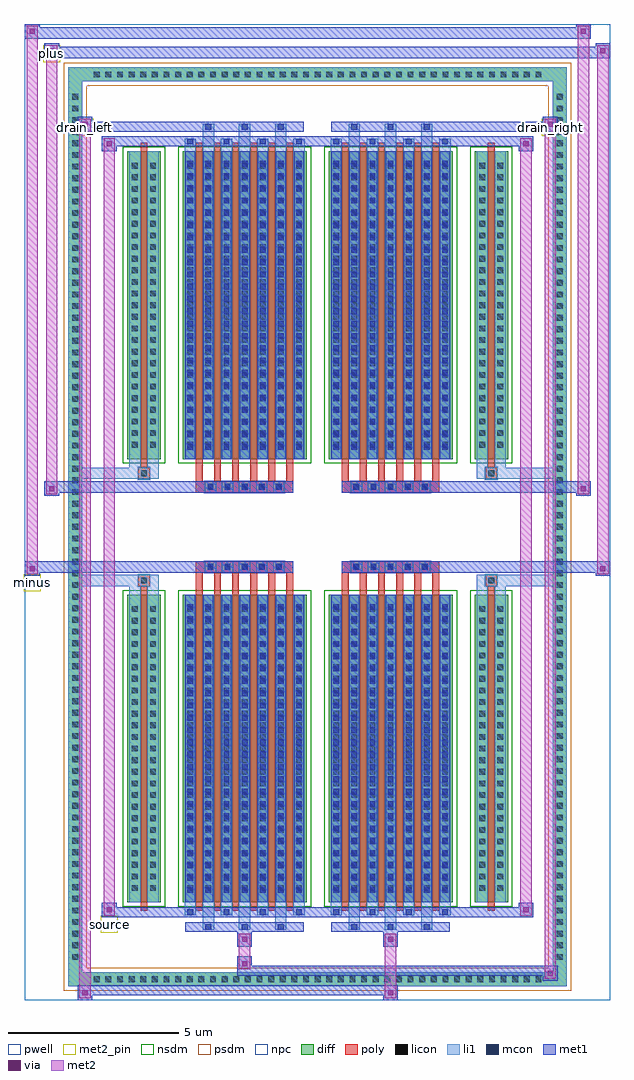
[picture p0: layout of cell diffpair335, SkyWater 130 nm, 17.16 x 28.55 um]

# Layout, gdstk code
import gdstk
lib = gdstk.Library(unit=1e-6, precision=5e-09)
def R(c, l, rs):  # rectangles x0, y0, x1, y1
    for r in rs: c.add(gdstk.rectangle(r[:2], r[2:], *l))
def A(c, l, x, y, w, h, nx, ny, dx, dy):  # array of equal rectangles
    R(c, l, [(x+i*dx, y+j*dy, x+i*dx+w, y+j*dy+h) for i in range(nx) for j in range(ny)])
def P(c, l, *ps):  # polygons
    for p in ps: c.add(gdstk.Polygon(p, *l))
pwell = (64, 44)
diff = (65, 20)
poly = (66, 20)
licon = (66, 44)
li1 = (67, 20)
mcon = (67, 44)
met1 = (68, 20)
via = (68, 44)
met2_pin = (69, 16)
met2 = (69, 20)
nsdm = (93, 44)
psdm = (94, 20)
npc = (95, 20)

diffpair335 = lib.new_cell('diffpair335')
R(diffpair335, pwell, [(-8.56,-13.84,8.56,14.71), (-5.88,-12.03,-0.01,-0.805), (0.01,-12.03,5.88,-0.805), (-5.88,0.805,-0.01,12.03), (0.01,0.805,5.88,12.03)])
A(diffpair335, diff, -6.665, -13.44, 0.41, 0.41, 39, 2, 0.34, 26.47)
A(diffpair335, diff, -7.29, -12.785, 0.41, 0.41, 1, 75, 0, 0.34)
A(diffpair335, diff, 6.88, -12.785, 0.41, 0.41, 1, 75, 0, 0.34)
R(diffpair335, diff, [(-6.665,-13.44,6.665,-13.03), (-7.29,-12.785,-6.88,12.785), (6.88,-12.785,7.29,12.785), (-5.57,-10.985,-4.59,-1.985), (-3.95,-10.985,-0.32,-1.985), (0.32,-10.985,3.95,-1.985), (4.59,-10.985,5.57,-1.985), (-5.57,1.985,-4.59,10.985), (-3.95,1.985,-0.32,10.985), (0.32,1.985,3.95,10.985), (4.59,1.985,5.57,10.985), (-6.665,13.03,6.665,13.44)])
P(diffpair335, diff, [(7.29,13.44),(-7.29,13.44),(-7.29,-13.03),(-6.88,-13.03),(-6.88,13.03),(6.88,13.03),(6.88,-13.03),(-6.88,-13.03),(-7.29,-13.03),(-7.29,-13.44),(7.29,-13.44)])
A(diffpair335, poly, -3.56, -11.235, 0.2, 9.5, 6, 2, 0.53, 12.97)
A(diffpair335, poly, 0.71, -11.235, 0.2, 9.5, 6, 2, 0.53, 12.97)
A(diffpair335, poly, -3.56, -1.735, 0.2, 0.4, 6, 2, 0.53, 3.07)
A(diffpair335, poly, 0.71, -1.735, 0.2, 0.4, 6, 2, 0.53, 3.07)
A(diffpair335, poly, -3.3, -1.335, 0.33, 0.33, 5, 2, 0.5, 2.34)
A(diffpair335, poly, 0.97, -1.335, 0.33, 0.33, 5, 2, 0.5, 2.34)
R(diffpair335, poly, [(-5.18,-11.235,-4.98,-1.735), (4.98,-11.235,5.18,-1.735), (-5.245,-1.735,-4.915,-1.405), (-5.245,-1.735,-4.915,-1.405), (4.915,-1.735,5.245,-1.405), (4.915,-1.735,5.245,-1.405), (-3.56,-1.335,-0.71,-1.005), (0.71,-1.335,3.56,-1.005), (-3.56,1.005,-0.71,1.335), (0.71,1.005,3.56,1.335), (-5.245,1.405,-4.915,1.735), (-5.245,1.405,-4.915,1.735), (4.915,1.405,5.245,1.735), (4.915,1.405,5.245,1.735), (-5.18,1.735,-4.98,11.235), (4.98,1.735,5.18,11.235)])
A(diffpair335, licon, -6.545, -13.32, 0.17, 0.17, 39, 2, 0.34, 26.47)
A(diffpair335, licon, -7.17, -12.665, 0.17, 0.17, 1, 75, 0, 0.34)
A(diffpair335, licon, 7, -12.665, 0.17, 0.17, 1, 75, 0, 0.34)
A(diffpair335, licon, -5.43, -10.65, 0.17, 0.17, 1, 25, 0, 0.34)
A(diffpair335, licon, -4.9, -10.65, 0.17, 0.17, 1, 25, 0, 0.34)
A(diffpair335, licon, -3.81, -10.65, 0.17, 0.17, 7, 25, 0.53, 0.34)
A(diffpair335, licon, 0.46, -10.65, 0.17, 0.17, 7, 25, 0.53, 0.34)
A(diffpair335, licon, 4.73, -10.65, 0.17, 0.17, 1, 25, 0, 0.34)
A(diffpair335, licon, 5.26, -10.65, 0.17, 0.17, 1, 25, 0, 0.34)
A(diffpair335, licon, -3.22, -1.255, 0.17, 0.17, 5, 2, 0.5, 2.34)
A(diffpair335, licon, 1.05, -1.255, 0.17, 0.17, 5, 2, 0.5, 2.34)
A(diffpair335, licon, -5.43, 2.32, 0.17, 0.17, 1, 25, 0, 0.34)
A(diffpair335, licon, -4.9, 2.32, 0.17, 0.17, 1, 25, 0, 0.34)
A(diffpair335, licon, -3.81, 2.32, 0.17, 0.17, 7, 25, 0.53, 0.34)
A(diffpair335, licon, 0.46, 2.32, 0.17, 0.17, 7, 25, 0.53, 0.34)
A(diffpair335, licon, 4.73, 2.32, 0.17, 0.17, 1, 25, 0, 0.34)
A(diffpair335, licon, 5.26, 2.32, 0.17, 0.17, 1, 25, 0, 0.34)
R(diffpair335, licon, [(-5.165,-1.655,-4.995,-1.485), (4.995,-1.655,5.165,-1.485), (-5.165,1.485,-4.995,1.655), (4.995,1.485,5.165,1.655)])
A(diffpair335, li1, -6.625, -13.4, 0.33, 0.33, 39, 2, 0.34, 26.47)
A(diffpair335, li1, -7.25, -12.745, 0.33, 0.33, 1, 75, 0, 0.34)
A(diffpair335, li1, 6.92, -12.745, 0.33, 0.33, 1, 75, 0, 0.34)
A(diffpair335, li1, -3.36, -11.79, 0.33, 0.805, 3, 2, 1.06, 22.775)
A(diffpair335, li1, -3.28, -11.79, 0.17, 0.17, 3, 2, 1.06, 23.41)
A(diffpair335, li1, 0.91, -11.79, 0.33, 0.805, 3, 2, 1.06, 22.775)
A(diffpair335, li1, 0.99, -11.79, 0.17, 0.17, 3, 2, 1.06, 23.41)
A(diffpair335, li1, -3.89, -11.36, 0.33, 0.375, 4, 2, 1.06, 22.345)
A(diffpair335, li1, -3.81, -11.36, 0.17, 0.17, 4, 2, 1.06, 22.55)
A(diffpair335, li1, 0.38, -11.36, 0.33, 0.375, 4, 2, 1.06, 22.345)
A(diffpair335, li1, 0.46, -11.36, 0.17, 0.17, 4, 2, 1.06, 22.55)
A(diffpair335, li1, -3.89, -10.985, 0.33, 9, 7, 2, 0.53, 12.97)
A(diffpair335, li1, 0.38, -10.985, 0.33, 9, 7, 2, 0.53, 12.97)
A(diffpair335, li1, -5.51, -10.73, 0.33, 0.33, 1, 25, 0, 0.34)
A(diffpair335, li1, -4.98, -10.73, 0.33, 0.33, 1, 25, 0, 0.34)
A(diffpair335, li1, -3.89, -10.73, 0.33, 0.33, 7, 25, 0.53, 0.34)
A(diffpair335, li1, 0.38, -10.73, 0.33, 0.33, 7, 25, 0.53, 0.34)
A(diffpair335, li1, 4.65, -10.73, 0.33, 0.33, 1, 25, 0, 0.34)
A(diffpair335, li1, 5.18, -10.73, 0.33, 0.33, 1, 25, 0, 0.34)
A(diffpair335, li1, -3.81, -10.71, 0.17, 0.17, 7, 24, 0.53, 0.36)
A(diffpair335, li1, -3.81, -10.71, 0.17, 8.45, 7, 2, 0.53, 12.97)
A(diffpair335, li1, 0.46, -10.71, 0.17, 0.17, 7, 24, 0.53, 0.36)
A(diffpair335, li1, 0.46, -10.71, 0.17, 8.45, 7, 2, 0.53, 12.97)
A(diffpair335, li1, -3.3, -1.335, 0.33, 0.33, 5, 2, 0.5, 2.34)
A(diffpair335, li1, 0.97, -1.335, 0.33, 0.33, 5, 2, 0.5, 2.34)
A(diffpair335, li1, -5.51, 2.24, 0.33, 0.33, 1, 25, 0, 0.34)
A(diffpair335, li1, -4.98, 2.24, 0.33, 0.33, 1, 25, 0, 0.34)
A(diffpair335, li1, -3.89, 2.24, 0.33, 0.33, 7, 25, 0.53, 0.34)
A(diffpair335, li1, 0.38, 2.24, 0.33, 0.33, 7, 25, 0.53, 0.34)
A(diffpair335, li1, 4.65, 2.24, 0.33, 0.33, 1, 25, 0, 0.34)
A(diffpair335, li1, 5.18, 2.24, 0.33, 0.33, 1, 25, 0, 0.34)
A(diffpair335, li1, -3.81, 2.26, 0.17, 0.17, 7, 24, 0.53, 0.36)
A(diffpair335, li1, 0.46, 2.26, 0.17, 0.17, 7, 24, 0.53, 0.36)
R(diffpair335, li1, [(-7.29,-13.44,-6.88,-13.03), (-7.29,-13.44,-6.88,-13.03), (-6.88,-13.44,6.88,-13.03), (6.88,-13.44,7.29,-13.03), (6.88,-13.44,7.29,-13.03), (-7.29,-13.03,-6.88,13.03), (6.88,-13.03,7.29,13.03), (-5.51,-10.985,-5.18,-1.985), (-4.98,-10.985,-4.65,-1.985), (4.65,-10.985,4.98,-1.985), (5.18,-10.985,5.51,-1.985), (-5.51,-1.985,-5.18,-1.405), (-4.98,-1.985,-4.65,-1.405), (4.65,-1.985,4.98,-1.405), (5.18,-1.985,5.51,-1.405), (-7.29,-1.735,-5.245,-1.405), (-5.51,-1.735,-5.245,-1.405), (-5.245,-1.735,-4.915,-1.405), (-4.915,-1.735,-4.65,-1.405), (4.65,-1.735,4.915,-1.405), (4.915,-1.735,5.245,-1.405), (4.915,-1.735,7.29,-1.405), (5.245,-1.735,5.51,-1.405), (-7.29,1.405,-5.245,1.735), (-5.51,1.405,-5.245,1.735), (-5.51,1.405,-5.18,1.985), (-5.245,1.405,-4.915,1.735), (-4.98,1.405,-4.65,1.985), (-4.915,1.405,-4.65,1.735), (4.65,1.405,4.915,1.735), (4.65,1.405,4.98,1.985), (4.915,1.405,5.245,1.735), (4.915,1.405,7.29,1.735), (5.18,1.405,5.51,1.985), (5.245,1.405,5.51,1.735), (-5.51,1.985,-5.18,10.985), (-4.98,1.985,-4.65,10.985), (4.65,1.985,4.98,10.985), (5.18,1.985,5.51,10.985), (-7.29,13.03,-6.88,13.44), (-7.29,13.03,-6.88,13.44), (-6.88,13.03,6.88,13.44), (6.88,13.03,7.29,13.44), (6.88,13.03,7.29,13.44)])
A(diffpair335, mcon, -3.28, -11.79, 0.17, 0.17, 3, 2, 1.06, 23.41)
A(diffpair335, mcon, 0.99, -11.79, 0.17, 0.17, 3, 2, 1.06, 23.41)
A(diffpair335, mcon, -3.81, -11.36, 0.17, 0.17, 4, 2, 1.06, 22.55)
A(diffpair335, mcon, 0.46, -11.36, 0.17, 0.17, 4, 2, 1.06, 22.55)
A(diffpair335, mcon, -3.81, -10.71, 0.17, 0.17, 7, 24, 0.53, 0.36)
A(diffpair335, mcon, 0.46, -10.71, 0.17, 0.17, 7, 24, 0.53, 0.36)
A(diffpair335, mcon, -3.22, -1.255, 0.17, 0.17, 5, 2, 0.5, 2.34)
A(diffpair335, mcon, 1.05, -1.255, 0.17, 0.17, 5, 2, 0.5, 2.34)
A(diffpair335, mcon, -3.81, 2.26, 0.17, 0.17, 7, 24, 0.53, 0.36)
A(diffpair335, mcon, 0.46, 2.26, 0.17, 0.17, 7, 24, 0.53, 0.36)
A(diffpair335, met1, -3.34, -11.85, 0.29, 0.29, 3, 2, 1.06, 23.41)
A(diffpair335, met1, 0.93, -11.85, 0.29, 0.29, 3, 2, 1.06, 23.41)
A(diffpair335, met1, -3.87, -11.42, 0.29, 0.29, 4, 2, 1.06, 22.55)
A(diffpair335, met1, 0.4, -11.42, 0.29, 0.29, 4, 2, 1.06, 22.55)
A(diffpair335, met1, -3.87, -10.985, 0.29, 9, 7, 2, 0.53, 12.97)
A(diffpair335, met1, 0.4, -10.985, 0.29, 9, 7, 2, 0.53, 12.97)
A(diffpair335, met1, -3.87, -10.77, 0.29, 0.29, 7, 24, 0.53, 0.36)
A(diffpair335, met1, 0.4, -10.77, 0.29, 0.29, 7, 24, 0.53, 0.36)
A(diffpair335, met1, -3.28, -1.315, 0.29, 0.29, 5, 2, 0.5, 2.34)
A(diffpair335, met1, 0.99, -1.315, 0.29, 0.29, 5, 2, 0.5, 2.34)
A(diffpair335, met1, -3.87, 2.2, 0.29, 0.29, 7, 24, 0.53, 0.36)
A(diffpair335, met1, 0.4, 2.2, 0.29, 0.29, 7, 24, 0.53, 0.36)
R(diffpair335, met1, [(-7.02,-13.84,-6.59,-13.41), (1.92,-13.84,2.35,-13.41), (-7.02,-13.7,2.35,-13.41), (6.59,-13.27,7.02,-12.84), (-2.35,-13.13,7.02,-12.84), (-2.35,-12.99,-1.92,-12.56), (-2.35,-12.28,-1.92,-11.85), (1.92,-12.28,2.35,-11.85), (-3.87,-11.85,-0.4,-11.56), (0.4,-11.85,3.87,-11.56), (-6.31,-11.42,-5.88,-10.99), (-6.31,-11.42,-3.87,-11.13), (-3.87,-11.42,-0.4,-11.13), (-0.4,-11.42,0.4,-11.13), (0.4,-11.42,3.87,-11.13), (3.87,-11.42,6.31,-11.13), (5.88,-11.42,6.31,-10.99), (-8.56,-1.435,-8.13,-1.005), (8.13,-1.435,8.56,-1.005), (-8.56,-1.335,-0.71,-1.005), (-3.56,-1.335,-0.71,-1.005), (0.71,-1.335,3.56,-1.005), (0.71,-1.335,8.56,-1.005), (-7.99,0.905,-7.56,1.335), (7.56,0.905,7.99,1.335), (-7.99,1.005,-3.56,1.335), (-3.56,1.005,-0.71,1.335), (0.71,1.005,3.56,1.335), (3.56,1.005,7.99,1.335), (-6.31,10.99,-5.88,11.42), (5.88,10.99,6.31,11.42), (-6.31,11.13,-3.87,11.42), (-3.87,11.13,-0.4,11.42), (-0.4,11.13,0.4,11.42), (0.4,11.13,3.87,11.42), (3.87,11.13,6.31,11.42), (-7.02,11.56,-6.59,11.99), (-7.02,11.56,-3.87,11.85), (-3.87,11.56,-0.4,11.85), (0.4,11.56,3.87,11.85), (3.87,11.56,7.02,11.85), (6.59,11.56,7.02,11.99), (-7.99,13.71,-7.56,14.14), (-7.99,13.71,-5.88,14.04), (-5.88,13.71,5.88,14.04), (5.88,13.71,8.56,14.04), (8.13,13.71,8.56,14.14), (-8.56,14.28,-8.13,14.71), (-8.56,14.28,-5.88,14.61), (-5.88,14.28,5.88,14.61), (5.88,14.28,7.99,14.61), (7.56,14.28,7.99,14.71)])
R(diffpair335, via, [(-6.88,-13.7,-6.73,-13.55), (2.06,-13.7,2.21,-13.55), (6.73,-13.13,6.88,-12.98), (-2.21,-12.85,-2.06,-12.7), (-2.21,-12.14,-2.06,-11.99), (2.06,-12.14,2.21,-11.99), (-6.17,-11.28,-6.02,-11.13), (6.02,-11.28,6.17,-11.13), (-8.42,-1.295,-8.27,-1.145), (8.27,-1.295,8.42,-1.145), (-7.85,1.045,-7.7,1.195), (7.7,1.045,7.85,1.195), (-6.17,11.13,-6.02,11.28), (6.02,11.13,6.17,11.28), (-6.88,11.7,-6.73,11.85), (6.73,11.7,6.88,11.85), (-7.85,13.85,-7.7,14), (8.27,13.85,8.42,14), (-8.42,14.42,-8.27,14.57), (7.7,14.42,7.85,14.57)])
R(diffpair335, met2_pin, [(-6.345,-11.87,-5.845,-11.37), (-8.595,-1.885,-8.095,-1.385), (-7.055,11.44,-6.555,11.94), (6.555,11.44,7.055,11.94), (-8.025,13.59,-7.525,14.09)])
R(diffpair335, met2, [(-6.97,-13.79,-6.64,-13.46), (-6.97,-13.79,-6.64,11.94), (1.97,-13.79,2.3,-13.46), (1.97,-13.46,2.3,-12.23), (6.64,-13.22,6.97,-12.89), (6.64,-13.22,6.97,11.94), (-2.3,-12.94,-1.97,-12.61), (-2.3,-12.61,-1.97,-12.23), (-2.3,-12.23,-1.97,-11.9), (1.97,-12.23,2.3,-11.9), (-6.26,-11.37,-5.93,-11.04), (-6.26,-11.37,-5.93,11.37), (5.93,-11.37,6.26,-11.04), (5.93,-11.37,6.26,11.37), (-8.51,-1.385,-8.18,-1.055), (-8.51,-1.385,-8.18,14.66), (8.18,-1.385,8.51,-1.055), (8.18,-1.385,8.51,14.09), (-7.94,0.955,-7.61,1.285), (-7.94,0.955,-7.61,14.09), (7.61,0.955,7.94,1.285), (7.61,0.955,7.94,14.66), (-6.26,11.04,-5.93,11.37), (5.93,11.04,6.26,11.37), (-6.97,11.61,-6.64,11.94), (6.64,11.61,6.97,11.94), (-7.94,13.76,-7.61,14.09), (8.18,13.76,8.51,14.09), (-8.51,14.33,-8.18,14.66), (7.61,14.33,7.94,14.66)])
P(diffpair335, met2, [(8.51,-1.385),(8.51,-1.385),(8.51,-1.055),(8.51,-1.055)],
  [(8.51,13.76),(8.51,13.76),(8.51,14.09),(8.51,14.09)],
  [(-8.18,-1.385),(-8.18,-1.385),(-8.18,-1.055),(-8.18,-1.055)],
  [(-8.18,14.33),(-8.18,14.33),(-8.18,14.66),(-8.18,14.66)],
  [(7.94,0.955),(7.94,0.955),(7.94,1.285),(7.94,1.285)],
  [(7.94,14.33),(7.94,14.33),(7.94,14.66),(7.94,14.66)],
  [(-7.61,0.955),(-7.61,0.955),(-7.61,1.285),(-7.61,1.285)],
  [(-7.61,13.76),(-7.61,13.76),(-7.61,14.09),(-7.61,14.09)],
  [(-6.64,-13.79),(-6.64,-13.79),(-6.64,-13.46),(-6.64,-13.46)],
  [(-6.64,11.61),(-6.64,11.61),(-6.64,11.94),(-6.64,11.94)],
  [(6.97,-13.22),(6.97,-13.22),(6.97,-12.89),(6.97,-12.89)],
  [(6.97,11.61),(6.97,11.61),(6.97,11.94),(6.97,11.94)],
  [(-5.93,-11.37),(-5.93,-11.37),(-5.93,-11.04),(-5.93,-11.04)],
  [(-5.93,11.04),(-5.93,11.04),(-5.93,11.37),(-5.93,11.37)],
  [(6.26,-11.37),(6.26,-11.37),(6.26,-11.04),(6.26,-11.04)],
  [(6.26,11.04),(6.26,11.04),(6.26,11.37),(6.26,11.37)])
R(diffpair335, nsdm, [(-5.7,-11.115,-4.46,-1.855), (-4.08,-11.115,-0.19,-1.855), (0.19,-11.115,4.08,-1.855), (4.46,-11.115,5.7,-1.855), (-5.7,1.855,-4.46,11.115), (-4.08,1.855,-0.19,11.115), (0.19,1.855,4.08,11.115), (4.46,1.855,5.7,11.115)])
P(diffpair335, psdm, [(7.42,13.57),(-7.42,13.57),(-7.42,-12.9),(-6.75,-12.9),(-6.75,12.9),(6.75,12.9),(6.75,-12.9),(-6.75,-12.9),(-7.42,-12.9),(-7.42,-13.57),(7.42,-13.57)])
A(diffpair335, npc, -3.32, -1.355, 0.37, 0.37, 5, 2, 0.5, 2.34)
A(diffpair335, npc, 0.95, -1.355, 0.37, 0.37, 5, 2, 0.5, 2.34)
R(diffpair335, npc, [(-5.265,-1.755,-4.895,-1.385), (4.895,-1.755,5.265,-1.385), (-3.32,-1.355,-2.45,-0.985), (-3.32,-1.355,-2.45,-0.985), (-2.82,-1.355,-1.95,-0.985), (-2.82,-1.355,-1.95,-0.985), (-2.32,-1.355,-1.45,-0.985), (-2.32,-1.355,-1.45,-0.985), (-1.82,-1.355,-0.95,-0.985), (-1.82,-1.355,-0.95,-0.985), (0.95,-1.355,1.82,-0.985), (0.95,-1.355,1.82,-0.985), (1.45,-1.355,2.32,-0.985), (1.45,-1.355,2.32,-0.985), (1.95,-1.355,2.82,-0.985), (1.95,-1.355,2.82,-0.985), (2.45,-1.355,3.32,-0.985), (2.45,-1.355,3.32,-0.985), (-3.32,0.985,-2.45,1.355), (-3.32,0.985,-2.45,1.355), (-2.82,0.985,-1.95,1.355), (-2.82,0.985,-1.95,1.355), (-2.32,0.985,-1.45,1.355), (-2.32,0.985,-1.45,1.355), (-1.82,0.985,-0.95,1.355), (-1.82,0.985,-0.95,1.355), (0.95,0.985,1.82,1.355), (0.95,0.985,1.82,1.355), (1.45,0.985,2.32,1.355), (1.45,0.985,2.32,1.355), (1.95,0.985,2.82,1.355), (1.95,0.985,2.82,1.355), (2.45,0.985,3.32,1.355), (2.45,0.985,3.32,1.355), (-5.265,1.385,-4.895,1.755), (4.895,1.385,5.265,1.755)])
diffpair335.add(gdstk.Label('minus', (-8.345,-1.635), layer=69, texttype=5))
diffpair335.add(gdstk.Label('drain_right', (6.805,11.69), layer=69, texttype=5))
diffpair335.add(gdstk.Label('drain_left', (-6.805,11.69), layer=69, texttype=5))
diffpair335.add(gdstk.Label('source', (-6.095,-11.62), layer=69, texttype=5))
diffpair335.add(gdstk.Label('plus', (-7.775,13.84), layer=69, texttype=5))

lib.write_gds('diffpair335.gds')
